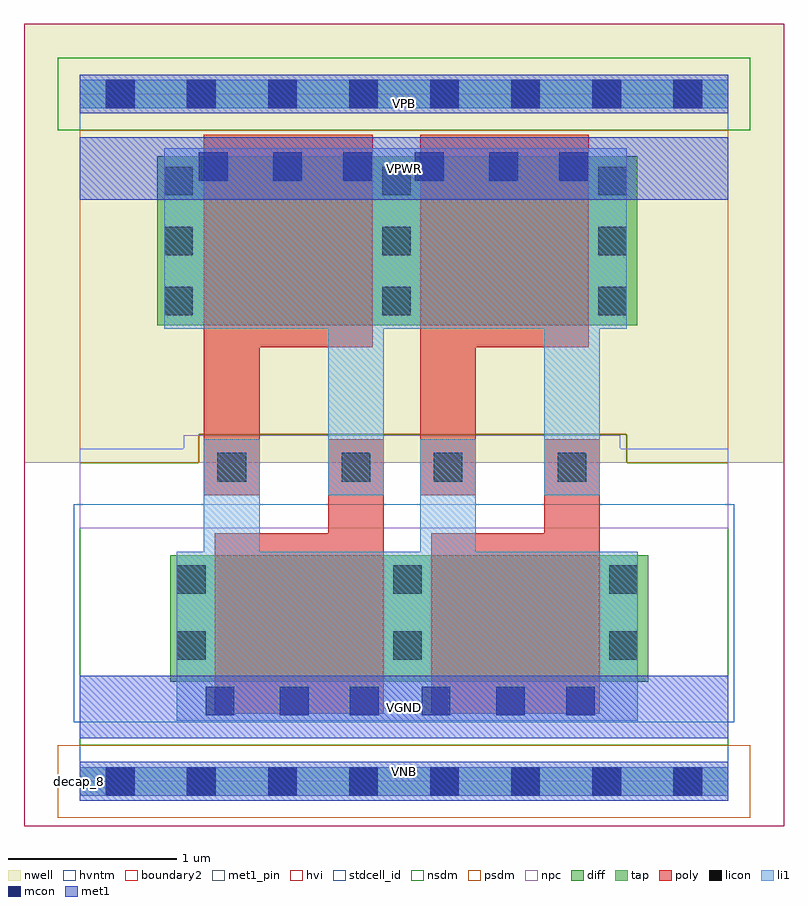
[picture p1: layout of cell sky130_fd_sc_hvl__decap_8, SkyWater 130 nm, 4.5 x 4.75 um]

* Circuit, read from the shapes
.subckt sky130_fd_sc_hvl__decap_8 VGND VNB VPB VPWR
XM1 VGND VPWR VGND VNB sky130_fd_pr__nfet_g5v0d10v5 w=0.75 l=1 m=2
XM2 VPWR VGND VPWR VPB sky130_fd_pr__pfet_g5v0d10v5 w=1 l=1 m=2
.ends

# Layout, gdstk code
import gdstk
lib = gdstk.Library(unit=1e-6, precision=1e-09)
def R(c, l, rs):  # rectangles x0, y0, x1, y1
    for r in rs: c.add(gdstk.rectangle(r[:2], r[2:], *l))
def A(c, l, x, y, w, h, nx, ny, dx, dy):  # array of equal rectangles
    R(c, l, [(x+i*dx, y+j*dy, x+i*dx+w, y+j*dy+h) for i in range(nx) for j in range(ny)])
def P(c, l, *ps):  # polygons
    for p in ps: c.add(gdstk.Polygon(p, *l))
nwell = (64, 20)
diff = (65, 20)
tap = (65, 44)
poly = (66, 20)
licon = (66, 44)
li1 = (67, 20)
mcon = (67, 44)
met1_pin = (68, 16)
met1 = (68, 20)
hvi = (75, 20)
stdcell_id = (81, 4)
nsdm = (93, 44)
psdm = (94, 20)
npc = (95, 20)
hvntm = (125, 20)
boundary2 = (236, 0)

sky130_fd_sc_hvl__decap_ = lib.new_cell('sky130_fd_sc_hvl__decap_8')
R(sky130_fd_sc_hvl__decap_, nwell, [(-0.33,1.885,4.17,4.485)])
R(sky130_fd_sc_hvl__decap_, diff, [(0.535,0.59,3.365,1.34), (0.46,2.7,3.3,3.7)])
R(sky130_fd_sc_hvl__decap_, tap, [(0,-0.085,3.84,0.085), (0,3.985,3.84,4.155)])
P(sky130_fd_sc_hvl__decap_, poly, [(0.735,1.695),(0.735,3.83),(1.735,3.83),(1.735,2.57),(1.065,2.57),(1.065,1.695)],
  [(2.015,1.695),(2.015,3.83),(3.015,3.83),(3.015,2.57),(2.345,2.57),(2.345,1.695)],
  [(0.8,0.4),(0.8,1.47),(1.47,1.47),(1.47,2.025),(1.8,2.025),(1.8,0.4)],
  [(2.08,0.4),(2.08,1.47),(2.75,1.47),(2.75,2.025),(3.08,2.025),(3.08,0.4)])
A(sky130_fd_sc_hvl__decap_, licon, 0.155, -0.085, 0.17, 0.17, 8, 2, 0.48, 4.07)
A(sky130_fd_sc_hvl__decap_, licon, 0.575, 0.72, 0.17, 0.17, 3, 2, 1.28, 0.39)
A(sky130_fd_sc_hvl__decap_, licon, 0.5, 2.76, 0.17, 0.17, 1, 3, 0, 0.355)
A(sky130_fd_sc_hvl__decap_, licon, 1.79, 2.76, 0.17, 0.17, 1, 3, 0, 0.355)
A(sky130_fd_sc_hvl__decap_, licon, 3.07, 2.76, 0.17, 0.17, 1, 3, 0, 0.355)
R(sky130_fd_sc_hvl__decap_, licon, [(0.815,1.775,0.985,1.945), (1.55,1.775,1.72,1.945), (2.095,1.775,2.265,1.945), (2.83,1.775,3,1.945)])
R(sky130_fd_sc_hvl__decap_, li1, [(0,-0.085,3.84,0.085), (0,3.985,3.84,4.155)])
P(sky130_fd_sc_hvl__decap_, li1, [(0.575,0.36),(0.575,1.36),(0.735,1.36),(0.735,2.025),(1.065,2.025),(1.065,1.36),(2.015,1.36),(2.015,2.025),(2.345,2.025),(2.345,1.36),(3.305,1.36),(3.305,0.36)],
  [(1.47,1.695),(1.47,2.68),(0.5,2.68),(0.5,3.75),(3.24,3.75),(3.24,2.68),(3.08,2.68),(3.08,1.695),(2.75,1.695),(2.75,2.68),(1.8,2.68),(1.8,1.695)])
A(sky130_fd_sc_hvl__decap_, mcon, 0.155, -0.085, 0.17, 0.17, 8, 2, 0.48, 4.07)
R(sky130_fd_sc_hvl__decap_, mcon, [(0.745,0.39,0.915,0.56), (1.185,0.39,1.355,0.56), (1.6,0.39,1.77,0.56), (2.025,0.39,2.195,0.56), (2.465,0.39,2.635,0.56), (2.88,0.39,3.05,0.56), (0.705,3.555,0.875,3.725), (1.145,3.555,1.315,3.725), (1.56,3.555,1.73,3.725), (1.985,3.555,2.155,3.725), (2.425,3.555,2.595,3.725), (2.84,3.555,3.01,3.725)])
R(sky130_fd_sc_hvl__decap_, met1_pin, [(0,0,3.84,0.115), (0,0,3.84,0.115), (0,0.255,3.84,0.625), (0,3.445,3.84,3.815), (0,3.955,3.84,4.07), (0,3.955,3.84,4.07)])
R(sky130_fd_sc_hvl__decap_, met1, [(0,-0.115,3.84,0.115), (0,0.255,3.84,0.625), (0,3.445,3.84,3.815), (0,3.955,3.84,4.185)])
R(sky130_fd_sc_hvl__decap_, hvi, [(-0.33,-0.265,4.17,4.485)])
R(sky130_fd_sc_hvl__decap_, stdcell_id, [(0,0,3.84,4.07)])
R(sky130_fd_sc_hvl__decap_, nsdm, [(-0.13,3.855,3.97,4.285)])
P(sky130_fd_sc_hvl__decap_, nsdm, [(0,0.215),(0,1.885),(0.705,1.885),(0.705,2.055),(3.24,2.055),(3.24,1.885),(3.84,1.885),(3.84,0.215)])
R(sky130_fd_sc_hvl__decap_, psdm, [(-0.13,-0.215,3.97,0.215)])
P(sky130_fd_sc_hvl__decap_, psdm, [(0,1.885),(0,3.855),(3.84,3.855),(3.84,1.885),(3.24,1.885),(3.24,2.055),(0.705,2.055),(0.705,1.885)])
P(sky130_fd_sc_hvl__decap_, npc, [(0,1.5),(0,1.97),(0.615,1.97),(0.615,2.05),(3.2,2.05),(3.2,1.97),(3.84,1.97),(3.84,1.5)])
R(sky130_fd_sc_hvl__decap_, hvntm, [(-0.035,0.35,3.875,1.64)])
R(sky130_fd_sc_hvl__decap_, boundary2, [(0,0,3.84,4.07)])
sky130_fd_sc_hvl__decap_.add(gdstk.Label('decap_8', (0,0), layer=83, texttype=44))
sky130_fd_sc_hvl__decap_.add(gdstk.Label('VPWR', (1.92,3.63), layer=68, texttype=5))
sky130_fd_sc_hvl__decap_.add(gdstk.Label('VPB', (1.92,4.013), layer=68, texttype=5))
sky130_fd_sc_hvl__decap_.add(gdstk.Label('VPB', (1.92,4.013), layer=68, texttype=5))
sky130_fd_sc_hvl__decap_.add(gdstk.Label('VNB', (1.92,0.058), layer=68, texttype=5))
sky130_fd_sc_hvl__decap_.add(gdstk.Label('VNB', (1.92,0.058), layer=68, texttype=5))
sky130_fd_sc_hvl__decap_.add(gdstk.Label('VGND', (1.92,0.44), layer=68, texttype=5))

lib.write_gds('sky130_fd_sc_hvl__decap_8.gds')
